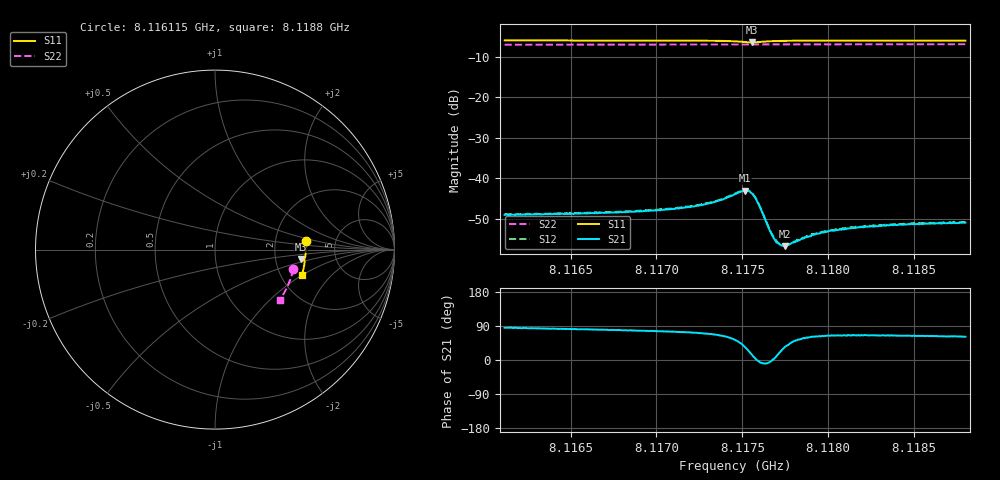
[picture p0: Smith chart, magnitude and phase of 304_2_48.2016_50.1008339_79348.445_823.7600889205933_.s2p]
#  HZ  S  RI  R  50.00
! Rohde & Schwarz Vector Network Analyzer
! Rohde-Schwarz,ZNB20-2Port,1311601062101988,3.16
! Created: UTC 3/20/2024, 11:49:42 AM
! freq[Hz]  re:S11  im:S11  re:S21  im:S21  re:S12  im:S12  re:S22  im:S22
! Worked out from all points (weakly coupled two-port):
!   401 points, 8.116115 GHz to 8.1188 GHz, reference 50 ohm
!   highest |S21| = -43.07 dB at 8.117518 GHz (marker M1); lowest = -56.8 dB at 8.117746 GHz (marker M2)
!   lowest |S11| = -6.4 dB at 8.117558 GHz (marker M3), VSWR 2.85, Z = 139 - j18.7 ohm
!   |S11| at or under -10 dB: nowhere
!   |S22| runs from -7.0 to -6.8 dB; largest |S21 - S12| = 0.00019
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8.1161155e9  0.5047 0.0495  0.000307 0.0035  0.000367 0.00354  0.4351 -0.1093
8.1165651e9  0.5064 0.0157  0.000569 0.00361  0.00064 0.00367  0.4278 -0.1396
8.1170148e9  0.5054 -0.0193  0.000987 0.0039  0.00101 0.00396  0.4181 -0.1696
8.117243e9  0.5028 -0.0383  0.00147 0.00432  0.00154 0.0044  0.4125 -0.1844
8.1173571e9  0.4996 -0.0491  0.00212 0.00476  0.00221 0.00483  0.4094 -0.1918
8.1174577e9  0.4918 -0.0591  0.00381 0.00508  0.00391 0.00513  0.4062 -0.1983
8.1175181e9  0.4809 -0.0595  0.00587 0.00387  0.00598 0.00388  0.404 -0.2019
8.1175383e9  0.478 -0.0561  0.00634 0.00273  0.00651 0.00273  0.4033 -0.203
8.1175584e9  0.4773 -0.0515  0.00625 0.00142  0.0064 0.00137  0.4027 -0.2038
8.1175718e9  0.4785 -0.0486  0.00582 0.000606  0.00595 0.000579  0.4026 -0.2045
8.1175919e9  0.4819 -0.0457  0.00492 -0.000197  0.00501 -0.000299  0.4021 -0.2057
8.1176591e9  0.4934 -0.0487  0.00226 -0.000232  0.00232 -0.000277  0.4008 -0.2101
8.1176859e9  0.4958 -0.0519  0.00177 0.000102  0.0018 0.000106  0.4001 -0.2117
8.1177127e9  0.4973 -0.0552  0.00147 0.000455  0.00151 0.000417  0.3993 -0.2135
8.1177262e9  0.4977 -0.0566  0.00135 0.0006  0.0014 0.000599  0.3989 -0.2144
8.1177463e9  0.4983 -0.059  0.00121 0.00078  0.00127 0.000807  0.3984 -0.2158
8.1177866e9  0.4988 -0.0633  0.00109 0.00112  0.00111 0.00113  0.3972 -0.2184
8.1179074e9  0.4986 -0.0747  0.000954 0.00176  0.000986 0.0018  0.3932 -0.226
8.118008e9  0.4978 -0.0833  0.000966 0.002  0.000986 0.00202  0.39 -0.2325
8.1181221e9  0.4962 -0.0926  0.00101 0.00216  0.00104 0.00219  0.3862 -0.2393
8.118357e9  0.4925 -0.1105  0.00114 0.00234  0.00114 0.0024  0.3778 -0.2537
8.1188e9  0.4838 -0.143  0.00135 0.00247  0.00138 0.0025  0.3605 -0.2795
